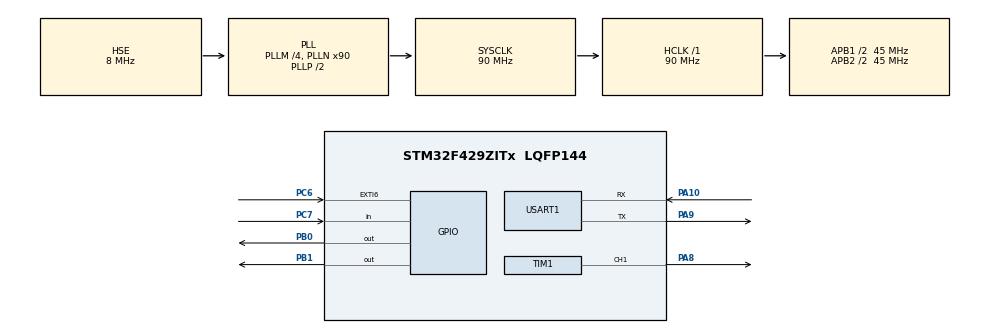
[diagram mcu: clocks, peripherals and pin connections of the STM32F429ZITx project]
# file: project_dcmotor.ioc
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Mcu.Family=STM32F4
Mcu.Name=STM32F429ZITx
Mcu.Package=LQFP144
NVIC.DMA2D_IRQn=true\:5\:0\:true\:false\:true\:true\:false\:true
NVIC.EXTI9_5_IRQn=true\:0\:0\:false\:true\:true\:1\:true\:true\:true
NVIC.PriorityGroup=NVIC_PRIORITYGROUP_4
NVIC.USART1_IRQn=true\:0\:0\:false\:true\:true\:2\:true\:true\:true
PA10.Mode=Asynchronous
PA10.Signal=USART1_RX
PA8.Signal=S_TIM1_CH1
PA9.Mode=Asynchronous
PA9.Signal=USART1_TX
PB0.GPIO_PuPd=GPIO_NOPULL
PB0.Signal=GPIO_Output
PB1.GPIO_PuPd=GPIO_NOPULL
PB1.Signal=GPIO_Output
PC6.GPIO_PuPd=GPIO_PULLUP
PC6.Signal=GPXTI6
PC7.GPIO_PuPd=GPIO_PULLUP
PC7.Signal=GPIO_Input
PH0/OSC_IN.Mode=HSE-External-Oscillator
PH0/OSC_IN.Signal=RCC_OSC_IN
PH1/OSC_OUT.Mode=HSE-External-Oscillator
PH1/OSC_OUT.Signal=RCC_OSC_OUT
ProjectManager.HeapSize=0x200
ProjectManager.StackSize=0x400
ProjectManager.TargetToolchain=STM32CubeIDE
RCC.48MHZClocksFreq_Value=25714285.714285713
RCC.AHBFreq_Value=90000000
RCC.APB1CLKDivider=RCC_HCLK_DIV2
RCC.APB1Freq_Value=45000000
RCC.APB1TimFreq_Value=90000000
RCC.APB2CLKDivider=RCC_HCLK_DIV2
RCC.APB2Freq_Value=45000000
RCC.APB2TimFreq_Value=90000000
RCC.CortexFreq_Value=90000000
RCC.HCLKFreq_Value=90000000
RCC.HSE_VALUE=8000000
RCC.HSI_VALUE=16000000
RCC.LSE_VALUE=32768
RCC.PLLM=4
RCC.PLLN=90
RCC.PLLQ=7
RCC.PLLSAIN=111
RCC.PLLSourceVirtual=RCC_PLLSOURCE_HSE
RCC.SYSCLKFreq_VALUE=90000000
RCC.SYSCLKSource=RCC_SYSCLKSOURCE_PLLCLK
RCC.VCOOutputFreq_Value=180000000
SH.S_TIM1_CH1.0=TIM1_CH1,PWM Generation1 CH1
TIM1.AutoReloadPreload=TIM_AUTORELOAD_PRELOAD_ENABLE
TIM1.Channel-PWM\ Generation1\ CH1=TIM_CHANNEL_1
TIM1.Period=1000-1
TIM1.Prescaler=90-1
TIM1.Pulse-PWM\ Generation1\ CH1=999
USART1.VirtualMode=VM_ASYNC
VP_CRC_VS_CRC.Mode=CRC_Activate
VP_DMA2D_VS_DMA2D.Mode=DMA2D_Activate
VP_TIM1_VS_ClockSourceINT.Mode=Internal
board=STM32F429I-DISC1

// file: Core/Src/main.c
/* USER CODE BEGIN Header */
/**
  ******************************************************************************
  * @file           : main.c
  * @brief          : Main program body
  ******************************************************************************
  * @attention
  *
  * Copyright (c) 2025 STMicroelectronics.
  * All rights reserved.
  *
  * This software is licensed under terms that can be found in the LICENSE file
  * in the root directory of this software component.
  * If no LICENSE file comes with this software, it is provided AS-IS.
  *
  ******************************************************************************
  */
/* USER CODE END Header */
#include "main.h"

/* USER CODE BEGIN Includes */
#include <stdio.h>
#include <string.h>
#include <stdlib.h>
/* USER CODE END Includes */

/* USER CODE BEGIN PTD */
typedef struct
{
	float kp;
	float ki;
	float kd;
	float prev_error;
	float integral;
}PIDController;
/* USER CODE END PTD */

/* USER CODE BEGIN PD */
#define MEASURE_TIME 500
/* USER CODE END PD */

CRC_HandleTypeDef hcrc;

DMA2D_HandleTypeDef hdma2d;

TIM_HandleTypeDef htim1;

UART_HandleTypeDef huart1;

/* USER CODE BEGIN PV */
//encoder
volatile int32_t encoder_count = 0;

//pid
PIDController pid =
{
	.kp=1.0f,
	.ki=0.1f,
	.kd=0.05f,
	.prev_error=0,
	.integral=0
};

//통신
char receive;
char receive_arr[100];
uint8_t arr_i=0;
char message[100];

//속도
float user_rpm = 0.0f;
float ccr = 0.0f;
//ccr과 user_rpm이 float인 이유는 나중에 rpm_control에서 두 변수 모두 float형 값과 연산을 하기 때문
uint8_t rpm_mode = 0;
uint8_t pid_mode=0;	//pid제어를 시작 하면 pid제어만으로 rpm을 조절하도록 함
//각도
uint8_t angle_mode = 0;
float angle_pulse = 0.0f;
int user_angle=0;
/* USER CODE END PV */

void SystemClock_Config(void);
static void MX_GPIO_Init(void);
static void MX_CRC_Init(void);
static void MX_DMA2D_Init(void);
static void MX_TIM1_Init(void);
static void MX_USART1_UART_Init(void);
static void MX_NVIC_Init(void);
/* USER CODE BEGIN PFP */
void HAL_GPIO_EXTI_Callback(uint16_t GPIO_Pin)
{
	if(GPIO_Pin==GPIO_PIN_6)
	{
		if(HAL_GPIO_ReadPin(GPIOC,GPIO_PIN_7)==GPIO_PIN_RESET)
		{
			encoder_count++;
		}
		else
		{
			encoder_count--;
		}
	}
}
void rpm_or_angle(char* arr)	//user가 속도 제어를 원하는가? 각도 제어를 원하는가?
{
	if (strncmp(arr, "RPM ", 4) == 0)	//user가 속도 제어를 원하는 경우
	{
		user_rpm = atof(&arr[4]);	//속도는 160이하이다.
		if (user_rpm > 160)
		{
			snprintf(message, sizeof(message), "you enter the wrong RPM value\r\n");
			HAL_UART_Transmit(&huart1, (uint8_t*)message, strlen(message), HAL_MAX_DELAY);
			return;
		}
		ccr = 300.0f;	//0부터 하면 너무 더디게 속도가 증가하므로 300부터 시작
		snprintf(message, sizeof(message), "user RPM -> %.1f\r\n", user_rpm);
		HAL_UART_Transmit(&huart1, (uint8_t*)message, strlen(message), HAL_MAX_DELAY);
		//정방향 회전
		HAL_GPIO_WritePin(GPIOB, GPIO_PIN_0, GPIO_PIN_SET);
		HAL_GPIO_WritePin(GPIOB, GPIO_PIN_1, GPIO_PIN_RESET);
		rpm_mode = 1;
		angle_mode = 0;
		pid_mode=0;
	}
	else if (strncmp(arr, "ANGLE ", 6) == 0)
	{
		user_angle=atoi(&arr[6]);
		snprintf(message, sizeof(message), "user ANGLE -> %d\r\n", user_angle);
		HAL_UART_Transmit(&huart1, (uint8_t*)message, strlen(message), HAL_MAX_DELAY);
		//1도 당 pulse 값은 960/360이다. 그 값을 user가 입력한 angle값에 곱한다.
		angle_pulse = (float)user_angle * (960.0f / 360.0f);
		encoder_count = 0;
		angle_mode = 1;
		rpm_mode = 0;
	}
	else
	{
		snprintf(message, sizeof(message), "enter RPM 00 or ANGLE 00\r\n");
		HAL_UART_Transmit(&huart1, (uint8_t*)message, strlen(message), HAL_MAX_DELAY);
		rpm_mode = angle_mode = 0;
		//정지
		HAL_GPIO_WritePin(GPIOB, GPIO_PIN_0, GPIO_PIN_SET);
		HAL_GPIO_WritePin(GPIOB, GPIO_PIN_1, GPIO_PIN_SET);
		__HAL_TIM_SET_COMPARE(&htim1, TIM_CHANNEL_1, 0);
	}
}

void HAL_UART_RxCpltCallback(UART_HandleTypeDef* huart)
{
	if (huart->Instance == USART1)
	{
		if (receive == '\r' || receive == '\n')
		{
			receive_arr[arr_i] = '\0';
			arr_i = 0;
			rpm_or_angle(receive_arr);
		}
		else
		{
			receive_arr[arr_i++] = receive;
		}
		HAL_UART_Receive_IT(&huart1, (uint8_t*)&receive, 1);
	}
}
float pid_compute(PIDController* pid, float setpoint, float measured, float dt_ms)
{
	float error, derivative, output;
	error = setpoint - measured;
	pid->integral += error * (dt_ms / 1000.0f);	//적분항, 누적 오차계산
	derivative = (error - pid->prev_error) / (dt_ms / 1000.0f);	//미분항, 오차 변화율 계산
	output = pid->kp * error + pid->ki * pid->integral + pid->kd * derivative; //return값, CCR변화량 계산
	if (output > 50.0f)
		output = 50.0f;
	if (output < -50.0f)
		output = -50.0f;
	pid->prev_error=error;	//다음에 호출되었을 때 미분 항 계산에 활용할 이번 오차이다.
	return output;
}
void rpm_control(void)
{
	if (rpm_mode == 0)
		return;
	static uint32_t last = 0;
	static uint8_t measure = 0;
	uint32_t now = HAL_GetTick();

	if (!measure)	//측정시작
	{
		encoder_count = 0;
		last = now;
		measure = 1;
	}
	else if (measure && (now - last >= MEASURE_TIME))	//측정시간 0.5초가 되면 실행
	{
		measure = 0; //재측정을 위해 초기화
		float now_rpm = (encoder_count / 960.0f) * (60000.0f / MEASURE_TIME);	//encoder값을 기반으로 실제rpm값 계산
		if ((!pid_mode)&&(now_rpm < user_rpm))	//현재 rpm이 user_rpm보다 낮으면 ccr 50씩 증가해서 user_rpm에 근접하게 한다.
		{
			ccr+=50;
		}
		else if((uint32_t)user_rpm!=(uint32_t)now_rpm) //user_rpm을 넘어서면 그때부터는 pid제어로 세세히 속도를 제어한다.
													   //제어하다가 같아지면 더이상 pid제어를 하지 않음
		{
			float pid_output = pid_compute(&pid, user_rpm, now_rpm, MEASURE_TIME);
			ccr += pid_output;
			pid_mode=1;
		}

		ccr=(ccr>999)?999:ccr;
		__HAL_TIM_SET_COMPARE(&htim1, TIM_CHANNEL_1, (uint32_t)ccr);
		snprintf(message, sizeof(message), "Target RPM: %.1f, now RPM: %.1f, CCR: %.1f\r\n", user_rpm, now_rpm, ccr);
		HAL_UART_Transmit(&huart1, (uint8_t*)message, strlen(message), HAL_MAX_DELAY);
	}
}

void angle_control(void)
{
	static uint8_t setting = 0;	//함수 실행시 셋팅
	if (angle_mode && !setting)
	{
		setting = 1;
		HAL_GPIO_WritePin(GPIOB, GPIO_PIN_0, GPIO_PIN_SET);
		HAL_GPIO_WritePin(GPIOB, GPIO_PIN_1, GPIO_PIN_RESET);
		__HAL_TIM_SET_COMPARE(&htim1, TIM_CHANNEL_1, 390); //최저 속도
	}
	if (setting)
	{
		if (encoder_count >= (int32_t)(angle_pulse*0.9f))
		{
			float stop_angle=encoder_count/960.0f;//0.xxx형태의 값, 이 값을 각도로 표현하기 위해 이 값으로 360를 곱해줘야한다.
			//현실세계에서의 바퀴의 정확한 각도를 모름 -> 관성 때문에 바퀴가 더 회전할 수 있기 때문이다.
			//정지
			HAL_GPIO_WritePin(GPIOB, GPIO_PIN_0, GPIO_PIN_SET);
			HAL_GPIO_WritePin(GPIOB, GPIO_PIN_1, GPIO_PIN_SET);
			__HAL_TIM_SET_COMPARE(&htim1, TIM_CHANNEL_1, 0);
			setting = 0;
			angle_mode = 0;
			snprintf(message, sizeof(message), "Target ANGLE: %d, STOP ANGLE: %.2f\r\n",user_angle , 360.0f*stop_angle);
			HAL_UART_Transmit(&huart1, (uint8_t*)message, strlen(message), HAL_MAX_DELAY);
		}
	}
}

/* USER CODE END PFP */

int main(void)
{

  /* MCU Configuration--------------------------------------------------------*/

  /* Reset of all peripherals, Initializes the Flash interface and the Systick. */
  HAL_Init();

  /* Configure the system clock */
  SystemClock_Config();

  /* Initialize all configured peripherals */
  MX_GPIO_Init();
  MX_CRC_Init();
  MX_DMA2D_Init();
  MX_TIM1_Init();
  MX_USART1_UART_Init();

  /* Initialize interrupts */
  MX_NVIC_Init();
  /* USER CODE BEGIN 2 */

  HAL_TIM_PWM_Start(&htim1,TIM_CHANNEL_1);

  HAL_UART_Receive_IT(&huart1,(uint8_t*)&receive,1);
  /* USER CODE END 2 */

  /* Infinite loop */
  /* USER CODE BEGIN WHILE */
  snprintf(message,sizeof(message),"enter RPM 00 or ANGLE 00\r\n");
  HAL_UART_Transmit(&huart1,(uint8_t*)message,strlen(message),HAL_MAX_DELAY);
  while (1)
  {
	  angle_control();
	  rpm_control();
    /* USER CODE END WHILE */

  }
}

void SystemClock_Config(void)
{
  RCC_OscInitTypeDef RCC_OscInitStruct = {0};
  RCC_ClkInitTypeDef RCC_ClkInitStruct = {0};

  /** Configure the main internal regulator output voltage
  */
  __HAL_RCC_PWR_CLK_ENABLE();
  __HAL_PWR_VOLTAGESCALING_CONFIG(PWR_REGULATOR_VOLTAGE_SCALE3);

  /** Initializes the RCC Oscillators according to the specified parameters
  * in the RCC_OscInitTypeDef structure.
  */
  RCC_OscInitStruct.OscillatorType = RCC_OSCILLATORTYPE_HSE;
  RCC_OscInitStruct.HSEState = RCC_HSE_ON;
  RCC_OscInitStruct.PLL.PLLState = RCC_PLL_ON;
  RCC_OscInitStruct.PLL.PLLSource = RCC_PLLSOURCE_HSE;
  RCC_OscInitStruct.PLL.PLLM = 4;
  RCC_OscInitStruct.PLL.PLLN = 90;
  RCC_OscInitStruct.PLL.PLLP = RCC_PLLP_DIV2;
  RCC_OscInitStruct.PLL.PLLQ = 7;
  if (HAL_RCC_OscConfig(&RCC_OscInitStruct) != HAL_OK)
  {
    Error_Handler();
  }

  /** Activate the Over-Drive mode
  */
  if (HAL_PWREx_EnableOverDrive() != HAL_OK)
  {
    Error_Handler();
  }

  /** Initializes the CPU, AHB and APB buses clocks
  */
  RCC_ClkInitStruct.ClockType = RCC_CLOCKTYPE_HCLK|RCC_CLOCKTYPE_SYSCLK
                              |RCC_CLOCKTYPE_PCLK1|RCC_CLOCKTYPE_PCLK2;
  RCC_ClkInitStruct.SYSCLKSource = RCC_SYSCLKSOURCE_PLLCLK;
  RCC_ClkInitStruct.AHBCLKDivider = RCC_SYSCLK_DIV1;
  RCC_ClkInitStruct.APB1CLKDivider = RCC_HCLK_DIV2;
  RCC_ClkInitStruct.APB2CLKDivider = RCC_HCLK_DIV2;

  if (HAL_RCC_ClockConfig(&RCC_ClkInitStruct, FLASH_LATENCY_2) != HAL_OK)
  {
    Error_Handler();
  }
}

/**
  * @brief NVIC Configuration.
  * @retval None
  */
static void MX_NVIC_Init(void)
{
  /* EXTI9_5_IRQn interrupt configuration */
  HAL_NVIC_SetPriority(EXTI9_5_IRQn, 0, 0);
  HAL_NVIC_EnableIRQ(EXTI9_5_IRQn);
  /* USART1_IRQn interrupt configuration */
  HAL_NVIC_SetPriority(USART1_IRQn, 0, 0);
  HAL_NVIC_EnableIRQ(USART1_IRQn);
}

static void MX_CRC_Init(void)
{

  hcrc.Instance = CRC;
  if (HAL_CRC_Init(&hcrc) != HAL_OK)
  {
    Error_Handler();
  }

}

static void MX_DMA2D_Init(void)
{

  hdma2d.Instance = DMA2D;
  hdma2d.Init.Mode = DMA2D_M2M;
  hdma2d.Init.ColorMode = DMA2D_OUTPUT_ARGB8888;
  hdma2d.Init.OutputOffset = 0;
  hdma2d.LayerCfg[1].InputOffset = 0;
  hdma2d.LayerCfg[1].InputColorMode = DMA2D_INPUT_ARGB8888;
  hdma2d.LayerCfg[1].AlphaMode = DMA2D_NO_MODIF_ALPHA;
  hdma2d.LayerCfg[1].InputAlpha = 0;
  if (HAL_DMA2D_Init(&hdma2d) != HAL_OK)
  {
    Error_Handler();
  }
  if (HAL_DMA2D_ConfigLayer(&hdma2d, 1) != HAL_OK)
  {
    Error_Handler();
  }

}

static void MX_TIM1_Init(void)
{

  TIM_ClockConfigTypeDef sClockSourceConfig = {0};
  TIM_MasterConfigTypeDef sMasterConfig = {0};
  TIM_OC_InitTypeDef sConfigOC = {0};
  TIM_BreakDeadTimeConfigTypeDef sBreakDeadTimeConfig = {0};

  htim1.Instance = TIM1;
  htim1.Init.Prescaler = 90-1;
  htim1.Init.CounterMode = TIM_COUNTERMODE_UP;
  htim1.Init.Period = 1000-1;
  htim1.Init.ClockDivision = TIM_CLOCKDIVISION_DIV1;
  htim1.Init.RepetitionCounter = 0;
  htim1.Init.AutoReloadPreload = TIM_AUTORELOAD_PRELOAD_ENABLE;
  if (HAL_TIM_Base_Init(&htim1) != HAL_OK)
  {
    Error_Handler();
  }
  sClockSourceConfig.ClockSource = TIM_CLOCKSOURCE_INTERNAL;
  if (HAL_TIM_ConfigClockSource(&htim1, &sClockSourceConfig) != HAL_OK)
  {
    Error_Handler();
  }
  if (HAL_TIM_PWM_Init(&htim1) != HAL_OK)
  {
    Error_Handler();
  }
  sMasterConfig.MasterOutputTrigger = TIM_TRGO_RESET;
  sMasterConfig.MasterSlaveMode = TIM_MASTERSLAVEMODE_DISABLE;
  if (HAL_TIMEx_MasterConfigSynchronization(&htim1, &sMasterConfig) != HAL_OK)
  {
    Error_Handler();
  }
  sConfigOC.OCMode = TIM_OCMODE_PWM1;
  sConfigOC.Pulse = 999;
  sConfigOC.OCPolarity = TIM_OCPOLARITY_HIGH;
  sConfigOC.OCNPolarity = TIM_OCNPOLARITY_HIGH;
  sConfigOC.OCFastMode = TIM_OCFAST_DISABLE;
  sConfigOC.OCIdleState = TIM_OCIDLESTATE_RESET;
  sConfigOC.OCNIdleState = TIM_OCNIDLESTATE_RESET;
  if (HAL_TIM_PWM_ConfigChannel(&htim1, &sConfigOC, TIM_CHANNEL_1) != HAL_OK)
  {
    Error_Handler();
  }
  sBreakDeadTimeConfig.OffStateRunMode = TIM_OSSR_DISABLE;
  sBreakDeadTimeConfig.OffStateIDLEMode = TIM_OSSI_DISABLE;
  sBreakDeadTimeConfig.LockLevel = TIM_LOCKLEVEL_OFF;
  sBreakDeadTimeConfig.DeadTime = 0;
  sBreakDeadTimeConfig.BreakState = TIM_BREAK_DISABLE;
  sBreakDeadTimeConfig.BreakPolarity = TIM_BREAKPOLARITY_HIGH;
  sBreakDeadTimeConfig.AutomaticOutput = TIM_AUTOMATICOUTPUT_DISABLE;
  if (HAL_TIMEx_ConfigBreakDeadTime(&htim1, &sBreakDeadTimeConfig) != HAL_OK)
  {
    Error_Handler();
  }
  HAL_TIM_MspPostInit(&htim1);

}

static void MX_USART1_UART_Init(void)
{

  huart1.Instance = USART1;
  huart1.Init.BaudRate = 115200;
  huart1.Init.WordLength = UART_WORDLENGTH_8B;
  huart1.Init.StopBits = UART_STOPBITS_1;
  huart1.Init.Parity = UART_PARITY_NONE;
  huart1.Init.Mode = UART_MODE_TX_RX;
  huart1.Init.HwFlowCtl = UART_HWCONTROL_NONE;
  huart1.Init.OverSampling = UART_OVERSAMPLING_16;
  if (HAL_UART_Init(&huart1) != HAL_OK)
  {
    Error_Handler();
  }

}

static void MX_GPIO_Init(void)
{
  GPIO_InitTypeDef GPIO_InitStruct = {0};

  /* GPIO Ports Clock Enable */
  __HAL_RCC_GPIOH_CLK_ENABLE();
  __HAL_RCC_GPIOB_CLK_ENABLE();
  __HAL_RCC_GPIOC_CLK_ENABLE();
  __HAL_RCC_GPIOA_CLK_ENABLE();

  /*Configure GPIO pin Output Level */
  HAL_GPIO_WritePin(GPIOB, GPIO_PIN_0|GPIO_PIN_1, GPIO_PIN_RESET);

  /*Configure GPIO pins : PB0 PB1 */
  GPIO_InitStruct.Pin = GPIO_PIN_0|GPIO_PIN_1;
  GPIO_InitStruct.Mode = GPIO_MODE_OUTPUT_PP;
  GPIO_InitStruct.Pull = GPIO_NOPULL;
  GPIO_InitStruct.Speed = GPIO_SPEED_FREQ_LOW;
  HAL_GPIO_Init(GPIOB, &GPIO_InitStruct);

  /*Configure GPIO pin : PC6 */
  GPIO_InitStruct.Pin = GPIO_PIN_6;
  GPIO_InitStruct.Mode = GPIO_MODE_IT_RISING;
  GPIO_InitStruct.Pull = GPIO_PULLUP;
  HAL_GPIO_Init(GPIOC, &GPIO_InitStruct);

  /*Configure GPIO pin : PC7 */
  GPIO_InitStruct.Pin = GPIO_PIN_7;
  GPIO_InitStruct.Mode = GPIO_MODE_INPUT;
  GPIO_InitStruct.Pull = GPIO_PULLUP;
  HAL_GPIO_Init(GPIOC, &GPIO_InitStruct);

}

void Error_Handler(void)
{
  __disable_irq();
  while (1)
  {
  }
}
